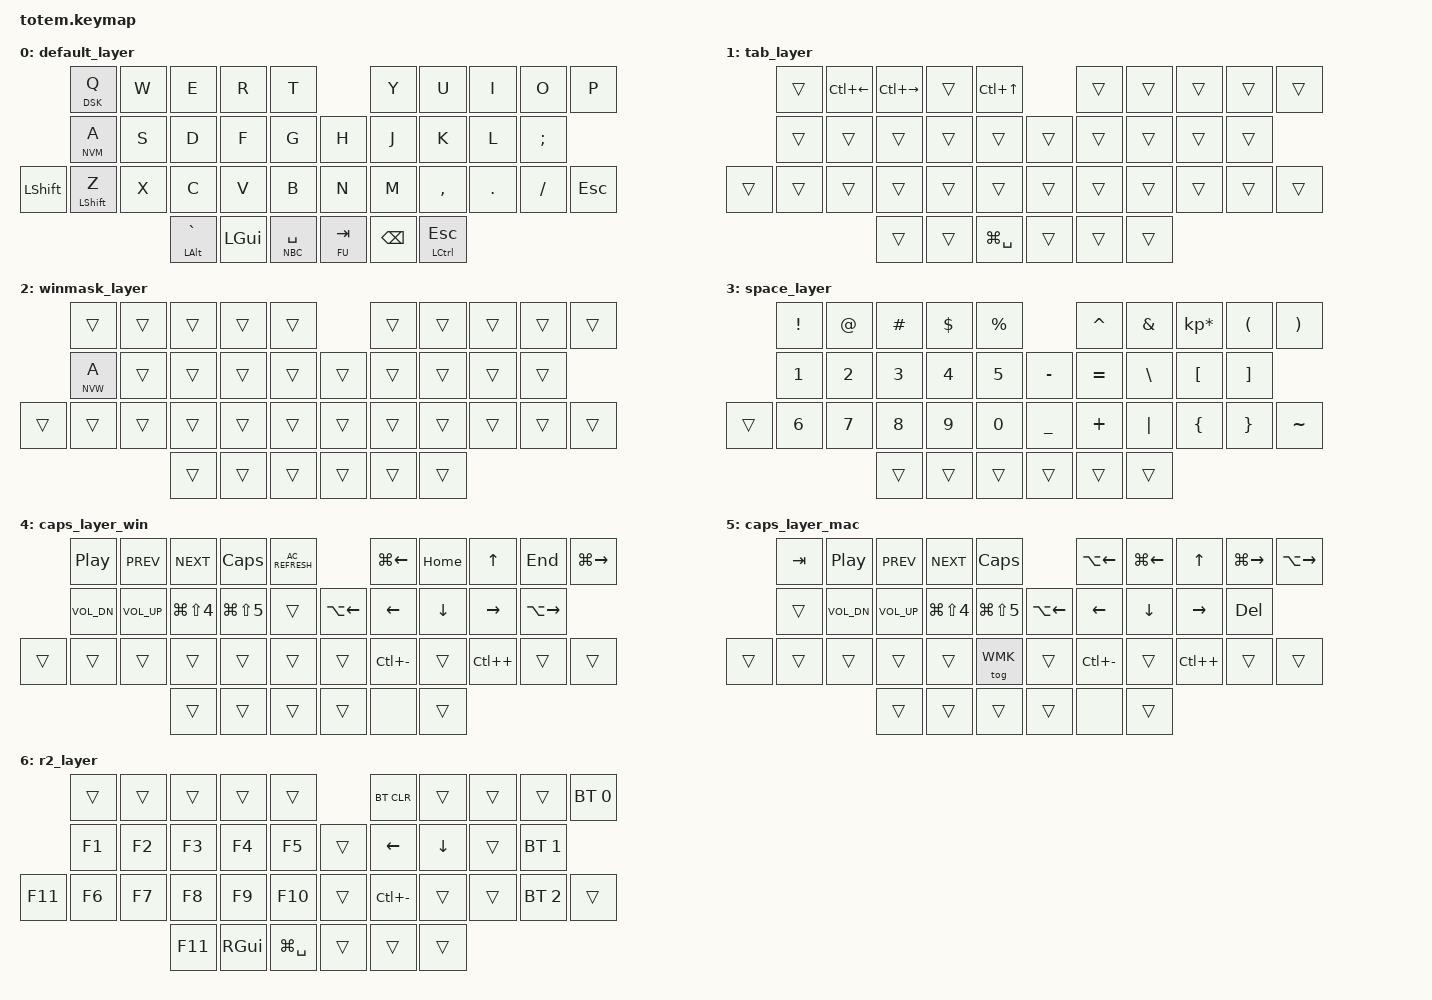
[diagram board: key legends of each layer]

#include <behaviors.dtsi>
#include <dt-bindings/zmk/keys.h>
#include <dt-bindings/zmk/bt.h>

#define DFT 0
#define DSK 1
#define WMK 2
#define NBC 3
#define NVW 4
#define NVM 5
#define FU 6

/ {
  chosen {
    zmk,matrix_transform = &default_transform;
    //zmk,matrix_transform = &five_column_transform;
  };
};

/ {
    combos {
        compatible = "zmk,combos";
        combo_ret {
            timeout-ms = <50>;
            key-positions = <18 19>;
            bindings = <&kp RETURN>;
        };
        combo_rsh {
            timeout-ms = <50>;
            key-positions = <28 29>;
            bindings = <&kp RSHFT>;
        };
        combo_squote {
            timeout-ms = <50>;
            key-positions = <16 17 18>;
            bindings = <&kp SQT>;
        };
        combo_backtick {
            timeout-ms = <50>;
            key-positions = <27 28 29>;
            bindings = <&kp GRAVE>;
        };
        combo_dquote {
            timeout-ms = <50>;
            key-positions = <6 7 8>;
            bindings = <&kp DQT>;
        };
    };
};
/ {
    keymap {
        compatible = "zmk,keymap";
        
        default_layer {
            bindings = <
                               &lt DSK Q    &kp W        &kp E        &kp R        &kp T         &kp Y        &kp U        &kp I        &kp O        &kp P       
                               &lt NVM A    &kp S        &kp D        &kp F        &kp G         &kp H        &kp J        &kp K        &kp L        &kp SEMI    
                  &kp LSHFT    &mt LSHFT Z        &kp X        &kp C        &kp V        &kp B         &kp N        &kp M        &kp COMMA    &kp DOT      &kp FSLH     &kp ESC     
                                                         &mt LALT GRAVE    &kp LGUI     &lt NBC SPACE    &lt FU TAB   &kp BSPC     &mt LCTRL ESC     
            >;
        };
        tab_layer {
            bindings = <
                               &trans       &kp LC(LEFT)    &kp LC(RIGHT)   &trans       &kp LC(UP)       &trans       &trans       &trans       &trans       &trans      
                               &trans       &trans       &trans       &trans       &trans        &trans       &trans       &trans       &trans       &trans      
                  &trans       &trans       &trans       &trans       &trans       &trans        &trans       &trans       &trans       &trans       &trans       &trans      
                                                         &trans       &trans       &kp LG(SPACE)    &trans       &trans       &trans      
            >;
        };
        winmask_layer {
            bindings = <
                               &trans       &trans       &trans       &trans       &trans        &trans       &trans       &trans       &trans       &trans      
                               &lt NVW A    &trans       &trans       &trans       &trans        &trans       &trans       &trans       &trans       &trans      
                  &trans       &trans       &trans       &trans       &trans       &trans        &trans       &trans       &trans       &trans       &trans       &trans      
                                                         &trans       &trans       &trans        &trans       &trans       &trans      
            >;
        };
        space_layer {
            bindings = <
                               &kp EXCL     &kp AT       &kp HASH     &kp DLLR     &kp PRCNT     &kp CARET    &kp AMPS     &kp KP_MULTIPLY   &kp LPAR     &kp RPAR    
                               &kp NUMBER_1     &kp NUMBER_2     &kp NUMBER_3     &kp NUMBER_4     &kp NUMBER_5      &kp MINUS    &kp EQUAL    &kp BSLH     &kp LBKT     &kp RBKT    
                  &trans       &kp NUMBER_6     &kp NUMBER_7     &kp NUMBER_8     &kp NUMBER_9     &kp NUMBER_0      &kp UNDER    &kp PLUS     &kp PIPE     &kp LBRC     &kp RBRC     &kp TILDE   
                                                         &trans       &trans       &trans        &trans       &trans       &trans      
            >;
        };
        caps_layer_win {
            bindings = <
                               &kp C_PP     &kp C_PREV   &kp C_NEXT   &kp CAPS     &kp C_AC_REFRESH     &kp LG(LEFT)    &kp HOME     &kp UP       &kp END      &kp LG(RIGHT)  
                               &kp C_VOL_DN   &kp C_VOL_UP     &kp LG(LS(NUMBER_4))      &kp LG(LS(NUMBER_5))      &trans        &kp LA(LEFT)    &kp LEFT     &kp DOWN     &kp RIGHT    &kp LA(RIGHT)  
                  &trans       &trans       &trans       &trans       &trans       &trans        &trans       &kp LC(MINUS)   &trans       &kp LC(PLUS)    &trans       &trans      
                                                         &trans       &trans       &trans        &trans       &none        &trans      
            >;
        };
        caps_layer_mac {
            bindings = <
                               &kp TAB      &kp C_PP     &kp C_PREV   &kp C_NEXT   &kp CAPS      &kp LA(LEFT)    &kp LG(LEFT)    &kp UP       &kp LG(RIGHT)   &kp LA(RIGHT)  
                               &trans       &kp C_VOL_DN   &kp C_VOL_UP     &kp LG(LS(NUMBER_4))      &kp LG(LS(NUMBER_5))       &kp LA(LEFT)    &kp LEFT     &kp DOWN     &kp RIGHT    &kp DEL     
                  &trans       &trans       &trans       &trans       &trans       &tog WMK      &trans       &kp LC(MINUS)   &trans       &kp LC(PLUS)    &trans       &trans      
                                                         &trans       &trans       &trans        &trans       &none        &trans      
            >;
        };
        r2_layer {
            bindings = <
                               &trans       &trans       &trans       &trans       &trans        &bt BT_CLR    &trans       &trans       &trans       &bt BT_SEL 0  
                               &kp F1       &kp F2       &kp F3       &kp F4       &kp F5        &trans       &kp LEFT     &kp DOWN     &trans       &bt BT_SEL 1  
                  &kp F11      &kp F6       &kp F7       &kp F8       &kp F9       &kp F10       &trans       &kp LC(MINUS)   &trans       &trans       &bt BT_SEL 2   &trans      
                                                         &kp F11      &kp RGUI     &kp LG(SPACE)    &trans       &trans       &trans      
            >;
        };
    };
};
    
